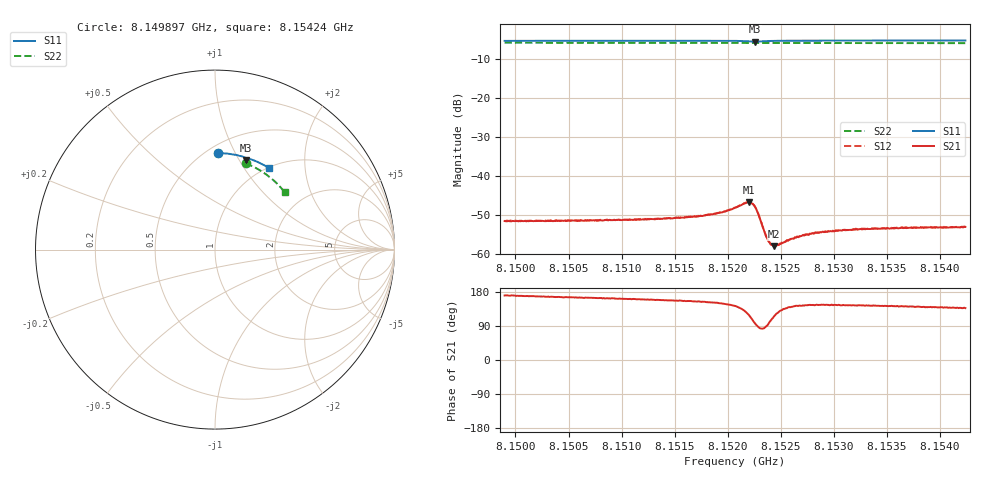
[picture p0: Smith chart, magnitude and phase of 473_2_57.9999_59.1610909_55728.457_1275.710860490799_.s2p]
#  HZ  S  RI  R  50.00
! Rohde & Schwarz Vector Network Analyzer
! Rohde-Schwarz,ZNB20-2Port,1311601062101988,3.16
! Created: UTC 3/21/2024, 1:11:27 AM
! freq[Hz]  re:S11  im:S11  re:S21  im:S21  re:S12  im:S12  re:S22  im:S22
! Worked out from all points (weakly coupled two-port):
!   401 points, 8.149897 GHz to 8.15424 GHz, reference 50 ohm
!   highest |S21| = -46.76 dB at 8.152199 GHz (marker M1); lowest = -58.0 dB at 8.152438 GHz (marker M2)
!   lowest |S11| = -5.6 dB at 8.152253 GHz (marker M3), VSWR 3.22, Z = 38.8 + j53.3 ohm
!   |S11| at or under -10 dB: nowhere
!   |S22| runs from -6.0 to -5.9 dB; largest |S21 - S12| = 0.00011
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8.1498975e9  0.0164 0.5379  -0.0026 0.00045  -0.00261 0.000503  0.1705 0.4804
8.1506249e9  0.0672 0.535  -0.00259 0.000714  -0.00258 0.000743  0.2136 0.4617
8.1513522e9  0.1176 0.5273  -0.00264 0.00103  -0.0026 0.00108  0.2542 0.4392
8.1517431e9  0.1452 0.5208  -0.00276 0.00136  -0.00277 0.00139  0.2753 0.4259
8.1519602e9  0.1611 0.5153  -0.00295 0.00182  -0.00297 0.00186  0.2865 0.4179
8.1520688e9  0.1696 0.5109  -0.0031 0.00239  -0.00307 0.00244  0.2922 0.4137
8.1521665e9  0.1757 0.5032  -0.00275 0.00353  -0.00273 0.00361  0.297 0.4098
8.152199e9  0.1757 0.4998  -0.00222 0.00402  -0.00218 0.00408  0.2986 0.4083
8.1522316e9  0.1735 0.4972  -0.00128 0.00423  -0.00121 0.00429  0.3 0.4072
8.1522533e9  0.1717 0.497  -0.000582 0.00406  -0.000552 0.00409  0.3009 0.4065
8.1522859e9  0.1697 0.4992  0.000122 0.0033  0.000169 0.00336  0.3024 0.4053
8.1523402e9  0.1716 0.5041  0.000227 0.00202  0.000267 0.00205  0.3052 0.4034
8.1523728e9  0.1746 0.5058  -2.52e-05 0.00158  -3.07e-05 0.00159  0.3068 0.402
8.1524053e9  0.1776 0.5066  -0.000319 0.00128  -0.000311 0.00132  0.3086 0.4009
8.1524379e9  0.1808 0.507  -0.00054 0.00114  -0.000531 0.00117  0.3101 0.3996
8.1524813e9  0.1846 0.5066  -0.000786 0.00106  -0.000767 0.00105  0.3124 0.3977
8.1526333e9  0.1969 0.5041  -0.00129 0.001  -0.00126 0.00102  0.3197 0.3918
8.1527962e9  0.2085 0.5002  -0.00152 0.00106  -0.0015 0.00109  0.3276 0.3849
8.1530459e9  0.2253 0.4938  -0.00164 0.00112  -0.00165 0.00119  0.3392 0.374
8.153111e9  0.2296 0.4919  -0.00166 0.00119  -0.00162 0.00119  0.3422 0.3712
8.1535235e9  0.2557 0.4795  -0.00167 0.00128  -0.0017 0.00134  0.3604 0.3526
8.1542401e9  0.299 0.4552  -0.00162 0.00152  -0.00163 0.00153  0.3894 0.3183
